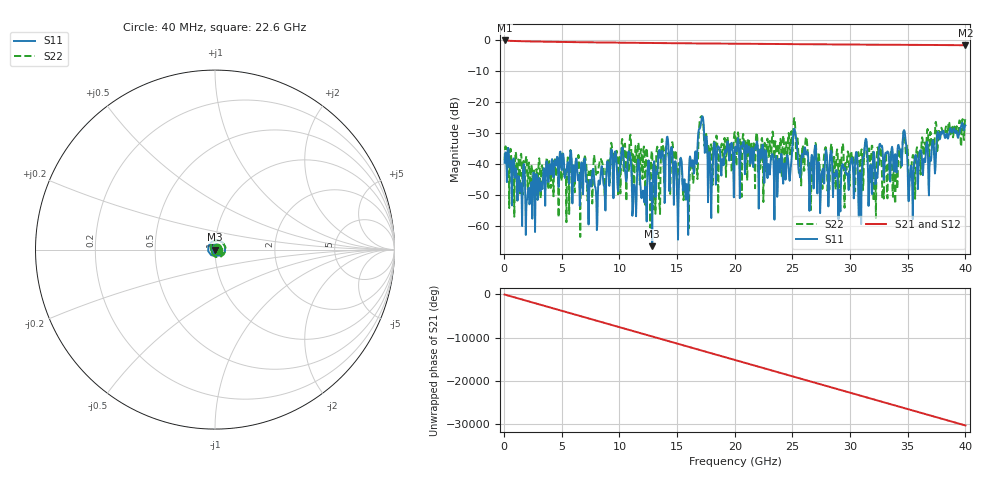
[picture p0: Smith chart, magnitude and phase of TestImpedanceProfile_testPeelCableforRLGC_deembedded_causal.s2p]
# MHz MA S R 50.0
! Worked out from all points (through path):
!   1000 points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, 40 MHz to 40 GHz, reference 50 ohm
!   highest |S21| = -0.03 dB at 40 MHz (marker M1); lowest = -1.6 dB at 40 GHz (marker M2)
!   lowest |S11| = -66.6 dB at 12.84 GHz (marker M3), VSWR 1.00, Z = 50 - j0.0161 ohm
!   |S11| at or under -10 dB: start of sweep to end of sweep
!   |S22| runs from -63.6 to -24.5 dB; largest |S21 - S12| = 0.002
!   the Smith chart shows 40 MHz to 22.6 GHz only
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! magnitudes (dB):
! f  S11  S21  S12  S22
! 40 MHz  -39.6  0.0  0.0  -38.8
! 2.04 GHz  -49.8  -0.3  -0.3  -48.4
! 5 GHz  -42.0  -0.5  -0.5  -43.9
! 6.72 GHz  -39.5  -0.6  -0.6  -41.6
! 10.84 GHz  -36.2  -0.8  -0.8  -36.5
! 11.28 GHz  -46.6  -0.8  -0.8  -48.3
! 12.84 GHz  -66.6  -0.9  -0.8  -36.6
! 13.36 GHz  -38.0  -0.9  -0.9  -39.3
! 14.72 GHz  -53.2  -0.9  -0.9  -43.7
! 15.84 GHz  -46.5  -1.0  -1.0  -47.7
! 17.12 GHz  -25.4  -1.0  -1.0  -24.5
! 17.88 GHz  -40.7  -1.0  -1.0  -35.4
! 20.04 GHz  -34.5  -1.1  -1.1  -30.6
! 23.56 GHz  -37.4  -1.2  -1.2  -33.1
! 25.08 GHz  -30.0  -1.2  -1.2  -28.9
! 26.68 GHz  -37.0  -1.3  -1.3  -40.2
! 29.04 GHz  -50.7  -1.3  -1.3  -44.6
! 33.36 GHz  -37.6  -1.4  -1.4  -40.3
! 33.92 GHz  -36.8  -1.5  -1.5  -52.9
! 34.76 GHz  -30.4  -1.5  -1.5  -31.8
! 35.24 GHz  -41.3  -1.5  -1.5  -44.3
! 40 GHz  -27.5  -1.6  -1.6  -25.5
